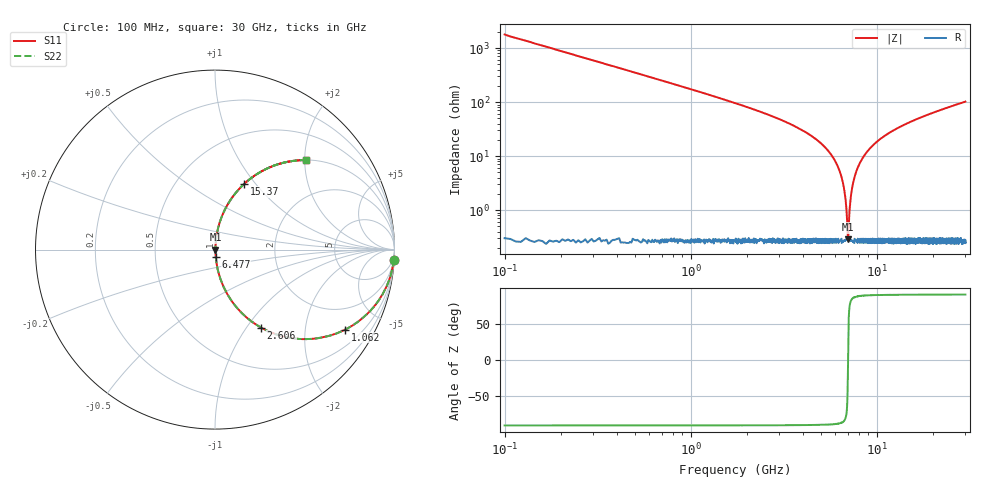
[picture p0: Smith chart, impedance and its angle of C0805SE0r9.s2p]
! AVX Thin Film Operation		Date: April 2012
! Description: Accu-P® Series, Thin Film, SMD, RF Capacitor
! Part Number: 08051J0R9PBTTR
!	100	MHz	-	30.05	GHz
!	Serial	Measurements
#	MHZ	S	MA	R	50
!	S11	S21	S12	S22
!	dB	Phase	dB	Phase	dB	Phase	dB	Phase
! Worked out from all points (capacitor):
!   4010 points, 100 MHz to 30 GHz, reference 50 ohm
!   read as one part in series: C = 899 fF near 249.2 MHz
!   lowest |Z| = 286 mohm at 7.014 GHz (marker M1)
!   series resonance near 7.017 GHz, so ESL is about 570 pH
!   S11 on the Smith chart (normalised r, x): 100 MHz: 1, -35; 1.062 GHz: 1.01, -3.25; 2.606 GHz: 1.01, -1.17; 6.477 GHz: 1.01, -0.08; 15.37 GHz: 1.01, +0.88; 30 GHz: 1.00, +2.04
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100  0.998 -3.2  0.056 86.8  0.056 86.8  0.998 -3.2
480.369  0.965 -15.3  0.263 74.7  0.263 74.7  0.965 -15.3
1062.11  0.851 -31.6  0.523 58.4  0.523 58.4  0.851 -31.6
1703.517  0.698 -45.6  0.714 44.3  0.714 44.3  0.698 -45.6
2605.962  0.504 -59.5  0.861 30.3  0.861 30.3  0.504 -59.5
5089.549  0.162 -79.7  0.984 9.3  0.984 9.3  0.162 -79.7
5932.327  0.085 -83.3  0.994 4.8  0.994 4.8  0.085 -83.3
6476.777  0.04 -83.9  0.996 2.3  0.996 2.3  0.04 -83.9
6707.982  0.023 -81.9  0.997 1.3  0.997 1.3  0.023 -81.9
6916.812  0.00772 -69.2  0.997 0.4  0.997 0.4  0.00772 -69.2
7013.769  0.0027 -4.9  0.997 0.0  0.997 0.0  0.0027 -4.9
7110.726  0.00719 67.6  0.997 -0.4  0.997 -0.4  0.00719 67.6
7252.432  0.017 79.8  0.997 -0.9  0.997 -0.9  0.017 79.8
7386.68  0.026 82.6  0.997 -1.5  0.997 -1.5  0.026 82.6
7864.006  0.057 84.0  0.996 -3.3  0.996 -3.3  0.057 84.0
8736.618  0.11 82.3  0.991 -6.3  0.991 -6.3  0.11 82.3
10071.64  0.183 78.7  0.981 -10.5  0.981 -10.5  0.183 78.7
15053.73  0.389 66.8  0.919 -22.9  0.919 -22.9  0.389 66.8
15374.43  0.4 66.1  0.914 -23.6  0.914 -23.6  0.4 66.1
20035.82  0.533 57.6  0.844 -32.2  0.844 -32.2  0.533 57.6
25017.91  0.637 50.3  0.769 -39.5  0.769 -39.5  0.637 50.3
30000  0.713 44.4  0.7 -45.4  0.7 -45.4  0.713 44.4
